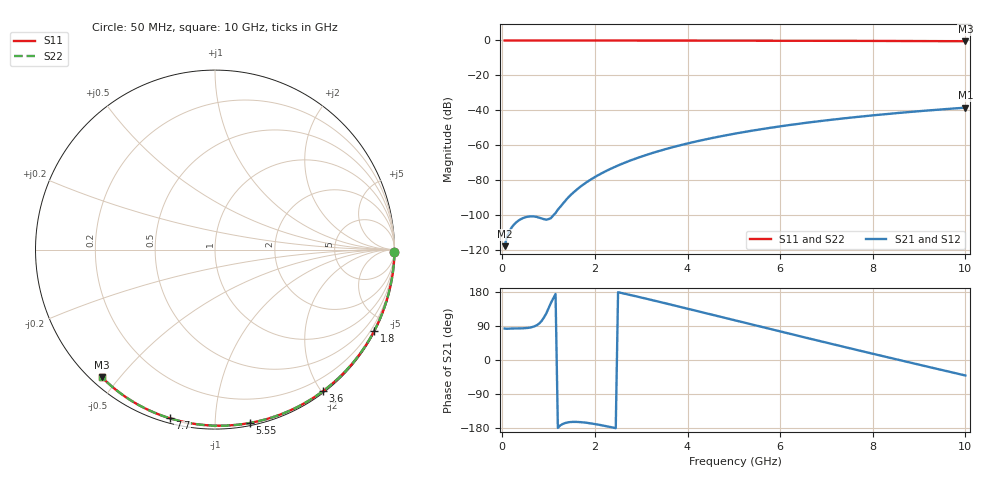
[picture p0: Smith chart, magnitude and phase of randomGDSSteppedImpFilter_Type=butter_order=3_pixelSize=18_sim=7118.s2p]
! freq	dB(S11)	phase(S11)	dB(S12)	phase(S12)
!  dB(S21)	phase(S21)	dB(S22)	phase(S22)
!S-par simulation data
#  GHz  S  DB  R 50
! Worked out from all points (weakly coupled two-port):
!   200 points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, 50 MHz to 10 GHz, reference 50 ohm
!   highest |S21| = -38.40 dB at 10 GHz (marker M1); lowest = -117.6 dB at 50 MHz (marker M2)
!   lowest |S11| = -0.4 dB at 10 GHz (marker M3), VSWR 39.09, Z = 1.54 - j22.5 ohm
!   |S11| at or under -10 dB: nowhere
!   |S22| runs from -0.4 to 0.0 dB; largest |S21 - S12| = 0
!   S11 on the Smith chart (normalised r, x): 50 MHz: open; 1.8 GHz: 0.04, -4.17; 3.6 GHz: 0.02, -2.02; 5.55 GHz: 0.02, -1.22; 7.7 GHz: 0.02, -0.77; 10 GHz: 0.03, -0.45
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0.05  -0.00 -0.8  -117.56 83.1  -117.56 83.1  -0.00 -0.8
0.9  -0.02 -13.6  -102.15 112.3  -102.15 112.3  -0.02 -13.6
1.75  -0.03 -26.2  -82.32 -164.6  -82.32 -164.6  -0.03 -26.2
1.8  -0.03 -26.9  -81.38 -165.3  -81.38 -165.3  -0.03 -26.9
1.85  -0.04 -27.7  -80.50 -166.1  -80.50 -166.1  -0.04 -27.7
1.9  -0.04 -28.4  -79.65 -167.0  -79.65 -167.0  -0.04 -28.4
2.05  -0.04 -30.6  -77.27 -170.1  -77.27 -170.1  -0.04 -30.6
2.25  -0.04 -33.5  -74.48 -174.7  -74.48 -174.7  -0.04 -33.5
2.45  -0.05 -36.4  -72.01 -179.8  -72.01 -179.8  -0.05 -36.4
2.65  -0.05 -39.3  -69.79 174.8  -69.79 174.8  -0.05 -39.3
3  -0.06 -44.3  -66.38 164.9  -66.38 164.9  -0.06 -44.3
3.4  -0.07 -49.9  -63.05 153.3  -63.05 153.3  -0.07 -49.9
3.6  -0.07 -52.7  -61.56 147.3  -61.56 147.3  -0.07 -52.7
4.3  -0.09 -62.3  -57.05 126.4  -57.05 126.4  -0.09 -62.3
5.05  -0.11 -72.2  -53.12 103.9  -53.12 103.9  -0.11 -72.2
5.55  -0.13 -78.7  -50.89 88.9  -50.89 88.9  -0.13 -78.7
6.1  -0.15 -85.6  -48.71 72.4  -48.71 72.4  -0.15 -85.6
6.7  -0.18 -93.1  -46.60 54.6  -46.60 54.6  -0.18 -93.1
7.7  -0.24 -105.1  -43.60 25.2  -43.60 25.2  -0.24 -105.1
8.35  -0.29 -112.7  -41.92 6.4  -41.92 6.4  -0.29 -112.7
9.15  -0.36 -121.8  -40.10 -16.6  -40.10 -16.6  -0.36 -121.8
10  -0.44 -131.5  -38.40 -40.9  -38.40 -40.9  -0.44 -131.5
